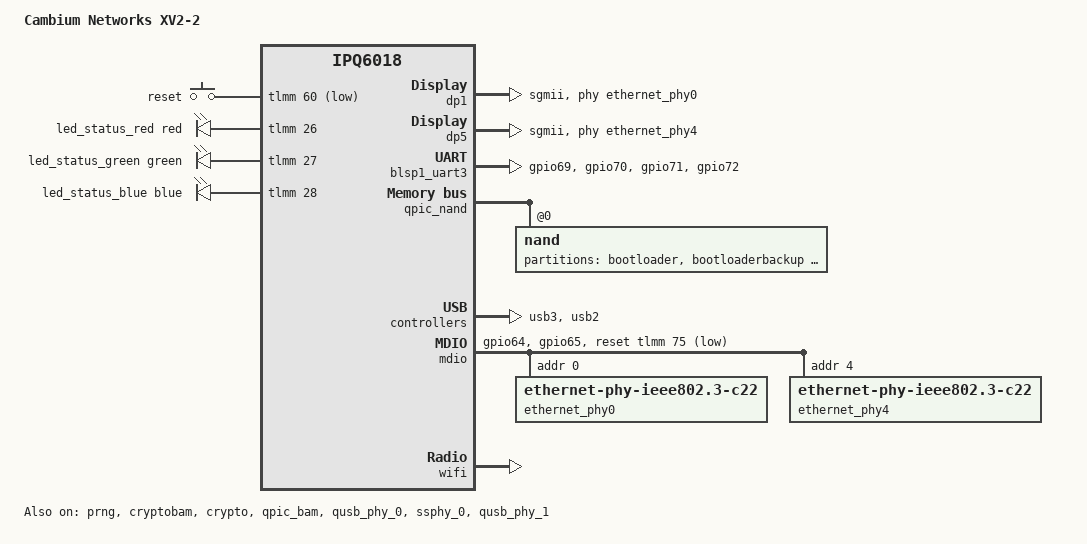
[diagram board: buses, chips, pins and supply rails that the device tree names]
// SPDX-License-Identifier: GPL-2.0-or-later OR MIT

/dts-v1/;

#include "ipq6018-512m.dtsi"
#include "ipq6018-cp-cpu.dtsi"
#include "ipq6018-ess.dtsi"
#include <dt-bindings/gpio/gpio.h>
#include <dt-bindings/input/input.h>
#include <dt-bindings/leds/common.h>

/ {
	model = "Cambium Networks XV2-2";
	compatible = "cambium,xv2-2", "qcom,ipq6018";

	aliases {
		serial0 = &blsp1_uart3;
		led-boot = &led_status_blue;
		led-running = &led_status_blue;
		led-failsafe = &led_status_red;
		led-upgrade = &led_status_green;
	};

	chosen {
		stdout-path = "serial0:115200n8";
		bootargs-append = " root=/dev/ubiblock0_0";
	};

	gpio_keys {
		compatible = "gpio-keys";
		pinctrl-0 = <&button_pins>;
		pinctrl-names = "default";

		reset {
			label = "reset";
			linux,code = <KEY_RESTART>;
			gpios = <&tlmm 60 GPIO_ACTIVE_LOW>;
			debounce-interval = <60>;
		};
	};

	leds {
		compatible = "gpio-leds";
		pinctrl-0 = <&leds_pins>;
		pinctrl-names = "default";

		led_status_red: status_red {
			color = <LED_COLOR_ID_RED>;
			function = LED_FUNCTION_STATUS;
			gpios = <&tlmm 26 GPIO_ACTIVE_HIGH>;
		};

		led_status_green: status_green {
			color = <LED_COLOR_ID_GREEN>;
			function = LED_FUNCTION_STATUS;
			gpios = <&tlmm 27 GPIO_ACTIVE_HIGH>;
		};

		led_status_blue: status_blue {
			color = <LED_COLOR_ID_BLUE>;
			function = LED_FUNCTION_STATUS;
			gpios = <&tlmm 28 GPIO_ACTIVE_HIGH>;
			default-state = "keep";
		};
	};

	soc {
		pinctrl@1000000 {
			button_pins: button_pins {
				reset_button {
					pins = "gpio60";
					function = "gpio";
					drive-strength = <8>;
					bias-pull-up;
				};
			};

			leds_pins: leds_pins {
				led_pins {
					pins = "gpio26", "gpio27", "gpio28";
					function = "gpio";
					drive-strength = <8>;
					bias-disable;
				};
			};
		};


		dp1 {
			device_type = "network";
			compatible = "qcom,nss-dp";
			qcom,id = <1>;
			reg = <0x3a001000 0x200>;
			qcom,mactype = <0>;
			local-mac-address = [000000000000];
			qcom,link-poll = <1>;
			qcom,phy-mdio-addr = <0>;
			phy-mode = "sgmii";
			phy-handle = <&ethernet_phy0>;
		};

		dp5 {
			device_type = "network";
			compatible = "qcom,nss-dp";
			qcom,id = <5>;
			reg = <0x3a003400 0x200>;
			qcom,mactype = <0>;
			local-mac-address = [000000000000];
			qcom,link-poll = <1>;
			qcom,phy-mdio-addr = <4>;
			phy-mode = "sgmii";
			phy-handle = <&ethernet_phy4>;
		};
	};
};

&tlmm {
	hsuart_pins: hsuart-pins {
		mux {
			pins = "gpio69", "gpio70",
				"gpio71", "gpio72";
			function = "blsp1_uart";
			drive-strength = <8>;
			bias-disable;
		};
	};

	mdio_pins: mdio_pinmux {
		mux_0 {
			pins = "gpio64";
			function = "mdc";
			drive-strength = <8>;
			bias-pull-up;
		};
		mux_1 {
			pins = "gpio65";
			function = "mdio";
			drive-strength = <8>;
			bias-pull-up;
		};
	};
};

&blsp1_uart3 {
	pinctrl-0 = <&hsuart_pins>;
	pinctrl-names = "default";
	status = "okay";
};

&prng {
	status = "okay";
};

&cryptobam {
	status = "okay";
};

&crypto {
	status = "okay";
};

&qpic_bam {
	status = "okay";
};

&qpic_nand {
	status = "okay";
	pinctrl-0 = <&qpic_pins>;
	pinctrl-names = "default";

	nand@0 {
		reg = <0>;
		nand-ecc-strength = <4>;
		nand-ecc-step-size = <512>;
		nand-bus-width = <8>;

		partitions {
			compatible = "fixed-partitions";
			#address-cells = <1>;
			#size-cells = <1>;

			bootloader@0 {
				label = "bootloader";
				reg = <0x0 0x100000>;
				read-only;
			};

			bootloaderbackup@100000 {
				label = "bootloaderbackup";
				reg = <0x100000 0x100000>;
				read-only;
			};

			art@200000 {
				label = "art";
				reg = <0x200000 0x80000>;
				read-only;

				precal_art_1000: precal@1000 {
					reg = <0x1000 0x2f20>;
				};

				precal_art_5000: precal@5000 {
					reg = <0x5000 0x2f20>;
				};
			};

			art_bak@280000 {
				label = "art_bak";
				reg = <0x280000 0x80000>;
				read-only;
			};

			config@300000 {
				label = "config";
				reg = <0x300000 0x80000>;
			};

			config_bak@380000 {
				label = "config_bak";
				reg = <0x380000 0x80000>;
			};

			ubi@400000 {
				label = "ubi";
				reg = <0x400000 0x7c00000>;

				volumes {
					ubi_rootfs: rootfs {
						name = "rootfs";
					};

					ubi_rootfs_data: rootfs_data {
						name = "rootfs_data";
					};
				};
			};
		};
	};
};

&qusb_phy_0 {
	status = "okay";
};

&ssphy_0 {
	status = "okay";
};

&usb3 {
	status = "okay";
};

&qusb_phy_1 {
	status = "okay";
};

&usb2 {
	status = "okay";
};

&mdio {
	pinctrl-0 = <&mdio_pins>;
	pinctrl-names = "default";
	reset-gpios = <&tlmm 75 GPIO_ACTIVE_LOW>;

	ethernet_phy0: ethernet-phy@0 {
		compatible = "ethernet-phy-ieee802.3-c22";
		reg = <0>;
	};

	ethernet_phy4: ethernet-phy@4 {
		compatible = "ethernet-phy-ieee802.3-c22";
		reg = <4>;
	};
};

&wifi {
	status = "okay";
	qcom,ath11k-calibration-variant = "Cambium-XV2-2";
};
